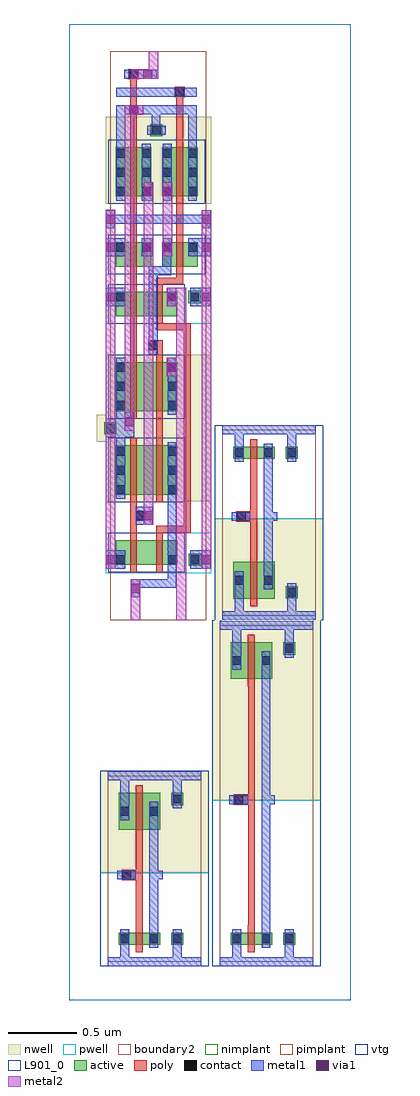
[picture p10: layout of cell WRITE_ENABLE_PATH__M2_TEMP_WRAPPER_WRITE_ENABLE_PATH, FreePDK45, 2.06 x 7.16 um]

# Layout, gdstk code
import gdstk
lib = gdstk.Library(unit=1e-6, precision=1e-09)
def R(c, l, rs):  # rectangles x0, y0, x1, y1
    for r in rs: c.add(gdstk.rectangle(r[:2], r[2:], *l))
def A(c, l, x, y, w, h, nx, ny, dx, dy):  # array of equal rectangles
    R(c, l, [(x+i*dx, y+j*dy, x+i*dx+w, y+j*dy+h) for i in range(nx) for j in range(ny)])
active = (1, 0)
pwell = (2, 0)
nwell = (3, 0)
nimplant = (4, 0)
pimplant = (5, 0)
vtg = (6, 0)
poly = (9, 0)
contact = (10, 0)
metal1 = (11, 0)
via1 = (12, 0)
metal2 = (13, 0)
boundary2 = (239, 0)
L901_0 = (901, 0)

write_enable_path__write = lib.new_cell('WRITE_ENABLE_PATH__WRITE_ENABLE_PATH__sram_1rw_32x16_freepdk45_contact_11')
R(write_enable_path__write, active, [(0,0.022,0.09,0.112)])
R(write_enable_path__write, nwell, [(-0.055,-0.033,0.145,0.168)])
R(write_enable_path__write, pimplant, [(0,0.022,0.09,0.112)])
R(write_enable_path__write, contact, [(0.013,0.035,0.077,0.1)])
R(write_enable_path__write, metal1, [(0.013,0,0.077,0.135)])
R(write_enable_path__write, boundary2, [(-0.055,-0.033,0.145,0.168)])

c_write_enable_path__write = lib.new_cell('WRITE_ENABLE_PATH__WRITE_ENABLE_PATH__sram_1rw_32x16_freepdk45_pmos_m1_w0_270_sm1_dm1_da_p')
R(c_write_enable_path__write, active, [(0,0,0.305,0.27)])
R(c_write_enable_path__write, nwell, [(-0.08,-0.08,0.385,0.35)])
R(c_write_enable_path__write, pimplant, [(0,0,0.305,0.27)])
R(c_write_enable_path__write, vtg, [(-0.08,-0.08,0.385,0.35)])
R(c_write_enable_path__write, poly, [(0.127,-0.055,0.177,0.325), (0.127,-0.055,0.177,0.325)])
R(c_write_enable_path__write, metal1, [(0.013,0.068,0.077,0.203), (0.227,0.068,0.292,0.203)])
R(c_write_enable_path__write, boundary2, [(-0.08,-0.08,0.385,0.35)])
c_write_enable_path__write.add(gdstk.Reference(write_enable_path__write, (0,0.068)))
c_write_enable_path__write.add(gdstk.Reference(write_enable_path__write, (0.215,0.068)))
c_write_enable_path__write.add(gdstk.Label('G', (0.152,0.135), layer=9, texttype=0))
c_write_enable_path__write.add(gdstk.Label('S', (0.045,0.135), layer=11, texttype=0))
c_write_enable_path__write.add(gdstk.Label('D', (0.26,0.135), layer=11, texttype=0))

c_write_enable_path__write_ = lib.new_cell('WRITE_ENABLE_PATH__WRITE_ENABLE_PATH__sram_1rw_32x16_freepdk45_contact_10')
R(c_write_enable_path__write_, active, [(0,0.022,0.09,0.112)])
R(c_write_enable_path__write_, pwell, [(-0.055,-0.033,0.145,0.168)])
R(c_write_enable_path__write_, nimplant, [(0,0.022,0.09,0.112)])
R(c_write_enable_path__write_, contact, [(0.013,0.035,0.077,0.1)])
R(c_write_enable_path__write_, metal1, [(0.013,0,0.077,0.135)])
R(c_write_enable_path__write_, boundary2, [(-0.055,-0.033,0.145,0.168)])

c_write_enable_path__write__ = lib.new_cell('WRITE_ENABLE_PATH__WRITE_ENABLE_PATH__sram_1rw_32x16_freepdk45_nmos_m1_w0_090_sm1_dm1_da_p')
R(c_write_enable_path__write__, active, [(0,0,0.305,0.09)])
R(c_write_enable_path__write__, pwell, [(-0.08,-0.08,0.385,0.17)])
R(c_write_enable_path__write__, nimplant, [(0,0,0.305,0.09)])
R(c_write_enable_path__write__, vtg, [(-0.08,-0.08,0.385,0.17)])
R(c_write_enable_path__write__, poly, [(0.127,-0.055,0.177,0.145), (0.127,-0.055,0.177,0.145)])
R(c_write_enable_path__write__, metal1, [(0.013,-0.022,0.077,0.112), (0.227,-0.022,0.292,0.112)])
R(c_write_enable_path__write__, boundary2, [(-0.08,-0.08,0.385,0.17)])
c_write_enable_path__write__.add(gdstk.Reference(c_write_enable_path__write_, (0,-0.022)))
c_write_enable_path__write__.add(gdstk.Reference(c_write_enable_path__write_, (0.215,-0.022)))
c_write_enable_path__write__.add(gdstk.Label('G', (0.152,0.045), layer=9, texttype=0))
c_write_enable_path__write__.add(gdstk.Label('S', (0.045,0.045), layer=11, texttype=0))
c_write_enable_path__write__.add(gdstk.Label('D', (0.26,0.045), layer=11, texttype=0))

c_write_enable_path__write___ = lib.new_cell('WRITE_ENABLE_PATH__WRITE_ENABLE_PATH__sram_1rw_32x16_freepdk45_contact_12')
R(c_write_enable_path__write___, active, [(0,0.022,0.09,0.112)])
R(c_write_enable_path__write___, nwell, [(-0.055,-0.033,0.145,0.168)])
R(c_write_enable_path__write___, nimplant, [(0,0.022,0.09,0.112)])
R(c_write_enable_path__write___, contact, [(0.013,0.035,0.077,0.1)])
R(c_write_enable_path__write___, metal1, [(0.013,0,0.077,0.135)])
R(c_write_enable_path__write___, boundary2, [(-0.055,-0.033,0.145,0.168)])

c_write_enable_path__write____ = lib.new_cell('WRITE_ENABLE_PATH__WRITE_ENABLE_PATH__sram_1rw_32x16_freepdk45_contact_13')
R(c_write_enable_path__write____, active, [(0,0.022,0.09,0.112)])
R(c_write_enable_path__write____, pwell, [(-0.055,-0.033,0.145,0.168)])
R(c_write_enable_path__write____, pimplant, [(0,0.022,0.09,0.112)])
R(c_write_enable_path__write____, contact, [(0.013,0.035,0.077,0.1)])
R(c_write_enable_path__write____, metal1, [(0.013,0,0.077,0.135)])
R(c_write_enable_path__write____, boundary2, [(-0.055,-0.033,0.145,0.168)])

c_write_enable_path__write_____ = lib.new_cell('WRITE_ENABLE_PATH__WRITE_ENABLE_PATH__sram_1rw_32x16_freepdk45_contact_14')
R(c_write_enable_path__write_____, poly, [(0.03,0,0.105,0.075)])
R(c_write_enable_path__write_____, contact, [(0.035,0.005,0.1,0.07)])
R(c_write_enable_path__write_____, metal1, [(0,0.005,0.135,0.07)])
R(c_write_enable_path__write_____, boundary2, [(0,0,0.135,0.075)])

c_write_enable_path__write______ = lib.new_cell('WRITE_ENABLE_PATH__WRITE_ENABLE_PATH__gen_inv')
R(c_write_enable_path__write______, pwell, [(-0.055,-0.033,0.743,0.655)])
R(c_write_enable_path__write______, nwell, [(-0.055,0.655,0.743,1.4)])
R(c_write_enable_path__write______, vtg, [(-0.055,-0.033,0.743,0.655), (-0.055,0.655,0.743,1.4)])
R(c_write_enable_path__write______, poly, [(0.208,0.27,0.258,0.915), (0.14,0.6,0.208,0.675)])
R(c_write_enable_path__write______, metal1, [(0,-0.033,0.687,0.033), (0.092,-0.033,0.157,0.103), (0.478,0,0.542,0.17), (0.307,0.103,0.372,1.173), (0.072,0.605,0.208,0.67), (0.34,0.605,0.405,0.67), (0.092,1.038,0.157,1.397), (0.478,1.195,0.542,1.365), (0,1.332,0.687,1.397)])
R(c_write_enable_path__write______, boundary2, [(0,0,0.687,1.365), (0,0,0.687,1.365)])
c_write_enable_path__write______.add(gdstk.Reference(c_write_enable_path__write, (0.08,0.97)))
c_write_enable_path__write______.add(gdstk.Reference(c_write_enable_path__write__, (0.08,0.125)))
c_write_enable_path__write______.add(gdstk.Reference(c_write_enable_path__write___, (0.465,1.127)))
c_write_enable_path__write______.add(gdstk.Reference(c_write_enable_path__write____, (0.465,0.103)))
c_write_enable_path__write______.add(gdstk.Reference(c_write_enable_path__write_____, (0.072,0.6)))
c_write_enable_path__write______.add(gdstk.Label('A', (0.14,0.638), layer=11, texttype=0))
c_write_enable_path__write______.add(gdstk.Label('Z', (0.372,0.638), layer=11, texttype=0))
c_write_enable_path__write______.add(gdstk.Label('gnd', (0.345,0), layer=11, texttype=0))
c_write_enable_path__write______.add(gdstk.Label('vdd', (0.345,1.365), layer=11, texttype=0))

c_write_enable_path__write_______ = lib.new_cell('WRITE_ENABLE_PATH__WRITE_ENABLE_PATH__gen_delay_inv')
R(c_write_enable_path__write_______, pwell, [(-0.055,-0.033,0.743,1.185)])
R(c_write_enable_path__write_______, nwell, [(-0.055,1.185,0.743,2.505)])
R(c_write_enable_path__write_______, vtg, [(-0.055,-0.033,0.743,1.185), (-0.055,1.185,0.743,2.505)])
R(c_write_enable_path__write_______, poly, [(0.208,0.27,0.258,2.02), (0.14,1.153,0.208,1.228)])
R(c_write_enable_path__write_______, metal1, [(0,-0.033,0.687,0.033), (0.092,-0.033,0.157,0.103), (0.478,0,0.542,0.17), (0.307,0.103,0.372,2.277), (0.072,1.157,0.208,1.222), (0.34,1.157,0.405,1.222), (0.092,2.143,0.157,2.502), (0.478,2.3,0.542,2.47), (0,2.437,0.687,2.502)])
R(c_write_enable_path__write_______, boundary2, [(0,0,0.687,2.47), (0,0,0.687,2.47)])
c_write_enable_path__write_______.add(gdstk.Reference(c_write_enable_path__write, (0.08,2.075)))
c_write_enable_path__write_______.add(gdstk.Reference(c_write_enable_path__write__, (0.08,0.125)))
c_write_enable_path__write_______.add(gdstk.Reference(c_write_enable_path__write___, (0.465,2.232)))
c_write_enable_path__write_______.add(gdstk.Reference(c_write_enable_path__write____, (0.465,0.103)))
c_write_enable_path__write_______.add(gdstk.Reference(c_write_enable_path__write_____, (0.072,1.153)))
c_write_enable_path__write_______.add(gdstk.Label('A', (0.14,1.19), layer=11, texttype=0))
c_write_enable_path__write_______.add(gdstk.Label('Z', (0.372,1.19), layer=11, texttype=0))
c_write_enable_path__write_______.add(gdstk.Label('gnd', (0.345,0), layer=11, texttype=0))
c_write_enable_path__write_______.add(gdstk.Label('vdd', (0.345,2.47), layer=11, texttype=0))

c_write_enable_path__write________ = lib.new_cell('WRITE_ENABLE_PATH__WRITE_ENABLE_PATH__write_driver')
R(c_write_enable_path__write________, active, [(0.292,0.535,0.382,0.625), (0.04,0.705,0.115,1.065), (0.04,0.705,0.115,1.065), (0.04,0.705,0.3,1.065), (0.225,0.705,0.3,1.065), (0.225,0.705,0.3,1.065), (0.38,0.705,0.455,1.065), (0.38,0.705,0.455,1.065), (0.38,0.705,0.64,1.065), (0.565,0.705,0.64,1.065), (0.565,0.705,0.64,1.065), (0.04,0.71,0.115,1.065), (0.225,0.71,0.3,1.065), (0.38,0.71,0.455,1.065), (0.565,0.71,0.64,1.065), (0.04,1.4,0.115,1.58), (0.04,1.4,0.115,1.58), (0.04,1.4,0.3,1.58), (0.04,1.4,0.115,1.475), (0.225,1.4,0.3,1.58), (0.225,1.4,0.3,1.58), (0.225,1.4,0.3,1.475), (0.38,1.4,0.455,1.58), (0.38,1.4,0.455,1.58), (0.38,1.4,0.64,1.58), (0.38,1.4,0.455,1.475), (0.565,1.4,0.64,1.58), (0.565,1.4,0.64,1.58), (0.565,1.4,0.64,1.475), (0.572,1.757,0.662,1.847), (0.04,1.765,0.115,1.945), (0.04,1.765,0.115,1.945), (0.04,1.765,0.115,1.84), (0.04,1.765,0.49,1.945), (0.197,1.765,0.337,1.945), (0.415,1.765,0.49,1.945), (0.415,1.765,0.49,1.945), (0.415,1.765,0.49,1.84), (0.04,2.28,0.115,2.64), (0.04,2.28,0.115,2.64), (0.04,2.28,0.115,2.635), (0.04,2.28,0.49,2.64), (0.197,2.28,0.337,2.64), (0.415,2.28,0.49,2.64), (0.415,2.28,0.49,2.64), (0.415,2.28,0.49,2.635), (-0.045,2.72,0.045,2.81), (0.04,2.892,0.115,3.252), (0.04,2.892,0.115,3.252), (0.04,2.892,0.49,3.252), (0.192,2.892,0.332,3.252), (0.415,2.892,0.49,3.252), (0.415,2.892,0.49,3.252), (0.04,2.897,0.115,3.252), (0.415,2.897,0.49,3.252), (0.04,3.587,0.115,3.767), (0.04,3.587,0.115,3.767), (0.04,3.587,0.49,3.767), (0.192,3.587,0.332,3.767), (0.415,3.587,0.49,3.767), (0.415,3.587,0.49,3.767), (0.575,3.685,0.665,3.775), (0.04,3.692,0.115,3.767), (0.415,3.692,0.49,3.767)])
R(c_write_enable_path__write________, pwell, [(-0.035,1.345,0.74,2), (-0.015,1.345,0.355,1.635), (0.325,1.345,0.695,1.635), (0.517,1.702,0.717,1.902), (-0.015,1.71,0.545,2), (-0.035,3.532,0.74,3.83), (-0.015,3.532,0.545,3.822), (0.52,3.63,0.72,3.83)])
R(c_write_enable_path__write________, nwell, [(-0.035,0.48,0.74,1.12), (0.237,0.48,0.437,0.68), (-0.015,0.65,0.355,1.12), (0.325,0.65,0.695,1.12), (-0.035,2.225,0.74,3.3), (-0.015,2.225,0.545,2.695), (-0.1,2.665,0.1,2.865), (-0.015,2.837,0.545,3.307)])
R(c_write_enable_path__write________, nimplant, [(0.292,0.535,0.382,0.625), (0.04,1.4,0.3,1.58), (0.38,1.4,0.64,1.58), (0.04,1.765,0.49,1.945), (-0.045,2.72,0.045,2.81), (0.04,3.587,0.49,3.767)])
R(c_write_enable_path__write________, pimplant, [(0.04,0.705,0.3,1.065), (0.38,0.705,0.64,1.065), (0.572,1.757,0.662,1.847), (0.04,2.28,0.49,2.64), (0.04,2.892,0.49,3.252), (0.575,3.685,0.665,3.775)])
R(c_write_enable_path__write________, vtg, [(-0.015,0.65,0.355,1.12), (0.325,0.65,0.695,1.12), (-0.015,1.345,0.355,1.635), (0.325,1.345,0.695,1.635), (-0.015,1.71,0.545,2), (-0.015,2.225,0.545,2.695), (-0.015,2.837,0.545,3.307), (-0.015,3.532,0.545,3.822)])
R(c_write_enable_path__write________, poly, [(0.132,0.132,0.207,0.207), (0.145,0.137,0.195,0.65), (0.472,0.262,0.547,0.337), (0.485,0.267,0.535,0.65), (0.145,0.65,0.195,0.705), (0.145,0.65,0.195,1.12), (0.485,0.65,0.535,0.705), (0.485,0.65,0.535,1.12), (0.145,1.065,0.195,1.12), (0.485,1.065,0.535,1.12), (0.145,1.12,0.195,1.345), (0.485,1.12,0.535,1.345), (0.145,1.345,0.195,1.635), (0.145,1.345,0.195,1.4), (0.485,1.345,0.535,1.635), (0.485,1.345,0.535,1.4), (0.145,1.58,0.195,1.635), (0.485,1.58,0.535,1.635), (0.145,1.635,0.195,1.71), (0.485,1.635,0.535,1.66), (0.335,1.66,0.535,1.71), (0.145,1.71,0.195,2), (0.145,1.71,0.195,1.765), (0.335,1.71,0.385,2), (0.335,1.71,0.385,1.765), (0.145,1.945,0.195,2), (0.335,1.945,0.385,2), (0.335,1.995,0.59,2.045), (0.54,1.995,0.59,3.482), (0.145,2,0.195,2.225), (0.277,2.12,0.352,2.195), (0.335,2.12,0.385,2.225), (0.145,2.225,0.195,2.28), (0.145,2.225,0.195,2.695), (0.335,2.225,0.385,2.28), (0.335,2.225,0.385,2.695), (0.145,2.64,0.195,2.695), (0.335,2.64,0.385,2.695), (0.335,2.695,0.385,2.837), (0.145,2.837,0.195,2.892), (0.145,2.837,0.195,3.307), (0.335,2.837,0.385,2.892), (0.335,2.837,0.385,3.307), (0.145,3.252,0.195,3.307), (0.335,3.252,0.385,3.307), (0.145,3.307,0.195,3.532), (0.18,3.37,0.255,3.445), (0.335,3.482,0.59,3.532), (0.145,3.532,0.195,3.822), (0.145,3.532,0.195,3.587), (0.335,3.532,0.385,3.822), (0.335,3.532,0.385,3.587), (0.145,3.767,0.195,3.822), (0.335,3.767,0.385,3.822)])
A(c_write_enable_path__write________, contact, 0.045, 0.715, 0.065, 0.065, 1, 3, 0, 0.14)
A(c_write_enable_path__write________, contact, 0.23, 0.715, 0.065, 0.065, 1, 3, 0, 0.14)
A(c_write_enable_path__write________, contact, 0.385, 0.715, 0.065, 0.065, 1, 3, 0, 0.14)
A(c_write_enable_path__write________, contact, 0.57, 0.715, 0.065, 0.065, 1, 3, 0, 0.14)
A(c_write_enable_path__write________, contact, 0.045, 2.285, 0.065, 0.065, 1, 3, 0, 0.14)
A(c_write_enable_path__write________, contact, 0.42, 2.285, 0.065, 0.065, 1, 3, 0, 0.14)
A(c_write_enable_path__write________, contact, 0.045, 2.902, 0.065, 0.065, 1, 3, 0, 0.14)
A(c_write_enable_path__write________, contact, 0.42, 2.902, 0.065, 0.065, 1, 3, 0, 0.14)
R(c_write_enable_path__write________, contact, [(0.137,0.137,0.202,0.202), (0.477,0.267,0.542,0.332), (0.305,0.547,0.37,0.612), (0.045,1.405,0.11,1.47), (0.23,1.405,0.295,1.47), (0.385,1.405,0.45,1.47), (0.57,1.405,0.635,1.47), (0.045,1.77,0.11,1.835), (0.42,1.77,0.485,1.835), (0.585,1.77,0.65,1.835), (0.282,2.125,0.347,2.19), (-0.032,2.732,0.032,2.797), (0.185,3.375,0.25,3.44), (0.045,3.697,0.11,3.762), (0.42,3.697,0.485,3.762), (0.587,3.697,0.652,3.762)])
R(c_write_enable_path__write________, metal1, [(0.207,0.135,0.342,0.2), (0.102,0.137,0.237,0.202), (0.045,0.267,0.635,0.332), (0.045,0.397,0.635,0.462), (0.105,0.397,0.24,0.462), (0.045,0.462,0.11,0.68), (0.302,0.462,0.367,0.612), (0.57,0.462,0.635,0.68), (0.27,0.547,0.405,0.612), (0.045,0.68,0.11,1.095), (0.23,0.68,0.295,1.095), (0.385,0.68,0.45,1.095), (0.57,0.68,0.635,1.095), (0.247,0.96,0.312,1.095), (0.387,0.96,0.452,1.095), (-0.032,1.165,0.032,1.3), (0.672,1.165,0.737,1.3), (-0.035,1.2,0.74,1.265), (-0.032,1.37,0.032,1.505), (0.027,1.37,0.04,1.505), (0.035,1.37,0.045,1.505), (0.045,1.37,0.11,1.505), (0.23,1.37,0.295,1.505), (0.247,1.37,0.312,1.505), (0.385,1.37,0.45,1.505), (0.387,1.37,0.452,1.505), (0.57,1.37,0.635,1.505), (0.63,1.37,0.672,1.505), (0.672,1.37,0.737,1.505), (0.38,1.452,0.445,1.577), (0.282,1.577,0.347,2.175), (0.282,1.577,0.445,1.642), (-0.032,1.735,0.032,1.87), (0.027,1.735,0.04,1.87), (0.035,1.735,0.045,1.87), (0.045,1.735,0.11,1.87), (0.417,1.735,0.482,1.87), (0.42,1.735,0.485,1.87), (0.585,1.735,0.65,1.87), (0.65,1.735,0.672,1.87), (0.672,1.735,0.737,1.87), (0.282,2.09,0.347,2.225), (0.045,2.25,0.11,2.665), (0.417,2.25,0.482,2.385), (0.42,2.25,0.485,2.665), (0.095,2.65,0.11,2.785), (0.107,2.65,0.172,2.785), (0.045,2.665,0.11,2.867), (-0.032,2.697,0.032,2.832), (0.032,2.697,0.175,2.832), (0.045,2.867,0.11,3.282), (0.42,2.867,0.485,3.282), (0.42,3.282,0.485,3.662), (0.185,3.34,0.25,3.475), (0.247,3.34,0.312,3.475), (-0.032,3.662,0.032,3.797), (0.027,3.662,0.04,3.797), (0.035,3.662,0.045,3.797), (0.045,3.662,0.11,3.797), (0.42,3.662,0.485,3.797), (0.587,3.662,0.652,3.797), (0.652,3.662,0.672,3.797), (0.672,3.662,0.737,3.797), (0.42,3.797,0.485,3.872), (0.15,3.872,0.485,3.937), (0.152,3.872,0.217,4.007)])
R(c_write_enable_path__write________, via1, [(0.242,0.135,0.307,0.2), (0.14,0.397,0.205,0.462), (0.247,0.995,0.312,1.06), (0.387,0.995,0.452,1.06), (-0.032,1.2,0.032,1.265), (0.672,1.2,0.737,1.265), (-0.032,1.405,0.032,1.47), (0.247,1.405,0.312,1.47), (0.387,1.405,0.452,1.47), (0.672,1.405,0.737,1.47), (-0.032,1.77,0.032,1.835), (0.417,1.77,0.482,1.835), (0.672,1.77,0.737,1.835), (0.417,2.285,0.482,2.35), (0.107,2.685,0.172,2.75), (0.247,3.375,0.312,3.44), (-0.032,3.697,0.032,3.762), (0.672,3.697,0.737,3.762), (0.152,3.907,0.217,3.972)])
R(c_write_enable_path__write________, metal2, [(0.28,0,0.35,0.14), (0.157,0.132,0.35,0.202), (0.207,0.132,0.342,0.202), (0.105,0.395,0.24,0.465), (0.105,0.465,0.175,2.785), (0.245,0.96,0.315,1.095), (0.385,0.96,0.455,1.095), (0.245,1.095,0.315,1.37), (0.385,1.095,0.455,1.37), (-0.035,1.162,0.035,3.797), (-0.035,1.165,0.035,1.3), (0.67,1.165,0.74,3.797), (0.67,1.165,0.74,1.3), (-0.035,1.37,0.035,1.505), (0.245,1.37,0.315,3.467), (0.245,1.37,0.315,1.505), (0.385,1.37,0.455,1.505), (0.67,1.37,0.74,1.505), (-0.035,1.735,0.035,1.87), (0.415,1.735,0.485,1.87), (0.485,1.735,0.555,4.175), (0.67,1.735,0.74,1.87), (0.415,2.25,0.485,2.385), (0.105,2.65,0.175,2.785), (0.245,3.34,0.315,3.475), (-0.035,3.662,0.035,3.797), (0.67,3.662,0.74,3.797), (0.15,3.872,0.22,4.007), (0.15,3.875,0.22,4.175)])
R(c_write_enable_path__write________, boundary2, [(0,0,0.705,4.175)])
c_write_enable_path__write________.add(gdstk.Label('en', (0.332,0.3), layer=11, texttype=0))
c_write_enable_path__write________.add(gdstk.Label('din', (0.32,0.035), layer=13, texttype=0))
c_write_enable_path__write________.add(gdstk.Label('vdd', (0.172,0.432), layer=13, texttype=0))
c_write_enable_path__write________.add(gdstk.Label('br', (0.52,4.15), layer=13, texttype=0))
c_write_enable_path__write________.add(gdstk.Label('bl', (0.19,4.138), layer=13, texttype=0))
c_write_enable_path__write________.add(gdstk.Label('gnd', (-0.005,1.57), layer=13, texttype=0))

c_write_enable_path__write_________ = lib.new_cell('WRITE_ENABLE_PATH__WRITE_ENABLE_PATH__WRITE_ENABLE_PATH')
c_write_enable_path__write_________.add(gdstk.Reference(c_write_enable_path__write______, (0.08,0.08)))
c_write_enable_path__write_________.add(gdstk.Reference(c_write_enable_path__write_______, (0.902,0.08)))
c_write_enable_path__write_________.add(gdstk.Reference(c_write_enable_path__write________, (0.1,6.76), x_reflection=True))
c_write_enable_path__write_________.add(gdstk.Reference(c_write_enable_path__write______, (0.92,3.985), x_reflection=True))

write_enable_path__m2_te = lib.new_cell('WRITE_ENABLE_PATH__M2_TEMP_WRAPPER_WRITE_ENABLE_PATH')
R(write_enable_path__m2_te, L901_0, [(-0.2,-0.2,1.862,6.96)])
write_enable_path__m2_te.add(gdstk.Reference(c_write_enable_path__write_________, (0,0)))
write_enable_path__m2_te.add(gdstk.Label('TEMP_WRAPPER_FOR_M2_REVIEW', (0,7.26), layer=900, texttype=0))
write_enable_path__m2_te.add(gdstk.Label('WRITE_ENABLE_PATH candidate composite', (0,7.86), layer=900, texttype=0))

lib.write_gds('WRITE_ENABLE_PATH__M2_TEMP_WRAPPER_WRITE_ENABLE_PATH.gds')
